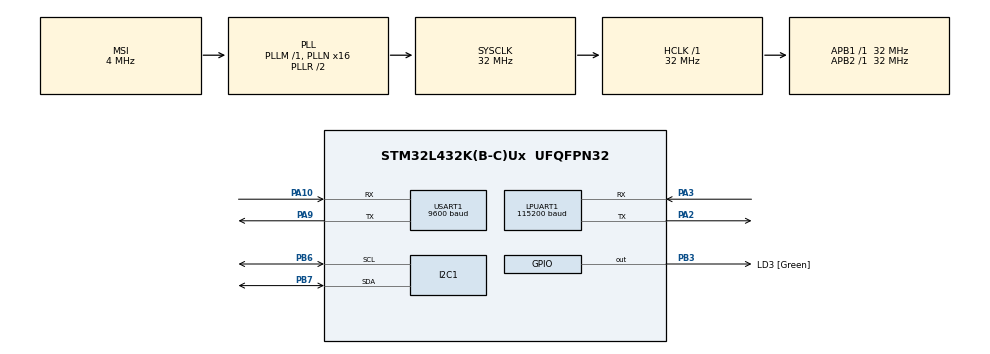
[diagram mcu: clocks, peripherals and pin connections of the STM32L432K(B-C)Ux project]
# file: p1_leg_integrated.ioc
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I2C1.Timing=0x00B07CB4
LPUART1.BaudRate=115200
LPUART1.WordLength=UART_WORDLENGTH_8B
Mcu.Family=STM32L4
Mcu.Name=STM32L432K(B-C)Ux
Mcu.Package=UFQFPN32
NVIC.PriorityGroup=NVIC_PRIORITYGROUP_4
NVIC.TIM6_DAC_IRQn=true\:0\:0\:false\:false\:true\:true\:true\:true
NVIC.USART1_IRQn=true\:0\:0\:false\:false\:true\:true\:true\:true
PA0.GPIO_Label=MCO [High speed clock in]
PA0.Signal=RCC_CK_IN
PA10.Mode=Asynchronous
PA10.Signal=USART1_RX
PA13\ (JTMS-SWDIO).GPIO_Label=SWDIO
PA13\ (JTMS-SWDIO).Signal=SYS_JTMS-SWDIO
PA14\ (JTCK-SWCLK).GPIO_Label=SWCLK
PA14\ (JTCK-SWCLK).Signal=SYS_JTCK-SWCLK
PA15\ (JTDI).GPIO_Label=VCP_RX
PA15\ (JTDI).Signal=USART2_RX
PA2.Mode=Asynchronous
PA2.Signal=LPUART1_TX
PA3.Mode=Asynchronous
PA3.Signal=LPUART1_RX
PA9.Mode=Asynchronous
PA9.Signal=USART1_TX
PB3\ (JTDO-TRACESWO).GPIO_Label=LD3 [Green]
PB3\ (JTDO-TRACESWO).Signal=GPIO_Output
PB6.Mode=I2C
PB6.Signal=I2C1_SCL
PB7.Mode=I2C
PB7.Signal=I2C1_SDA
PC14-OSC32_IN\ (PC14).Signal=RCC_OSC32_IN
PC15-OSC32_OUT\ (PC15).Signal=RCC_OSC32_OUT
ProjectManager.HeapSize=0x200
ProjectManager.StackSize=0x400
ProjectManager.TargetToolchain=STM32CubeIDE
RCC.AHBFreq_Value=32000000
RCC.APB1Freq_Value=32000000
RCC.APB1TimFreq_Value=32000000
RCC.APB2Freq_Value=32000000
RCC.APB2TimFreq_Value=32000000
RCC.CortexFreq_Value=32000000
RCC.HCLKFreq_Value=32000000
RCC.HSE_VALUE=8000000
RCC.HSI16_VALUE=16000000
RCC.HSI48_VALUE=48000000
RCC.HSI_VALUE=16000000
RCC.LSE_VALUE=32768
RCC.MSI_VALUE=4000000
RCC.PLLMUL=RCC_PLLMUL_4
RCC.PLLN=16
RCC.SYSCLKFreq_VALUE=32000000
RCC.SYSCLKSource=RCC_SYSCLKSOURCE_PLLCLK
RCC.VCOOutputFreq_Value=64000000
TIM6.Period=9999
TIM6.Prescaler=31
USART1.BaudRate=9600
USART1.VirtualMode-Asynchronous=VM_ASYNC
VP_TIM6_VS_ClockSourceINT.Mode=Enable_Timer
board=NUCLEO-L432KC

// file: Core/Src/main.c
/* USER CODE BEGIN Header */
/**
  ******************************************************************************
  * @file           : main.c
  * @brief          : Main program body
  ******************************************************************************
  * @attention
  *
  * Copyright (c) 2026 STMicroelectronics.
  * All rights reserved.
  *
  * This software is licensed under terms that can be found in the LICENSE file
  * in the root directory of this software component.
  * If no LICENSE file comes with this software, it is provided AS-IS.
  *
  ******************************************************************************
  */
/* USER CODE END Header */
#include "main.h"

/* USER CODE BEGIN Includes */
#include "jump.h"
#include <string.h>
#include "stdio.h"

/* USER CODE END Includes */

/* USER CODE BEGIN PD */
/* ── LSM303 defines ───────────────────────────────────────────── */
#define SAD_W_M     0x32          // I2C write address
#define SAD_R_M     0x33          // I2C read address
#define OUT_X_L_A   0b10101000    // accel output register, auto-increment

/* ── Globals ─────────────────────────────────────────────────── */
static JumpDetector      jd;
static volatile uint8_t  imu_read_flag = 0;  // set by TIM6 ISR every 10ms

// 0b001 for P1_LEG and 0b011 for P2_LEG
#define DEVICE_ADDR 0b011
#define MAINSTM_ADDR 0b100
#define START_BYTE 0xFF //might need to change this too
/* USER CODE END PD */

I2C_HandleTypeDef hi2c1;

UART_HandleTypeDef hlpuart1;
UART_HandleTypeDef huart1;

TIM_HandleTypeDef htim6;

/* USER CODE BEGIN PV */
uint8_t rx_buf[3] = {};
uint8_t tx_buf[3] = {};
uint8_t jump = 0; // for leg this will be jump
volatile uint8_t packet_received = 0;
volatile uint8_t uart_tx_busy = 0;

/* USER CODE END PV */

void SystemClock_Config(void);
static void MX_GPIO_Init(void);
static void MX_I2C1_Init(void);
static void MX_USART1_UART_Init(void);
static void MX_TIM6_Init(void);
static void MX_LPUART1_UART_Init(void);
/* USER CODE BEGIN PFP */
/* ── LSM303 init ─────────────────────────────────────────────── */
static void lsm303_init(void)
{
    uint8_t buf[2];
    // reg 0x20 = CTRL_REG1_A: ODR=400Hz, all axes enabled (0b10010111)
    buf[0] = 0x20;
    buf[1] = 0b10010111;
    HAL_I2C_Master_Transmit(&hi2c1, SAD_W_M, buf, 2, 1000);
}

/* ── Read all 3 accel axes in one burst ──────────────────────── */
static void lsm303_read_accel(int16_t *ax, int16_t *ay, int16_t *az)
{
    uint8_t reg = OUT_X_L_A;
    uint8_t buf[6];
    HAL_I2C_Master_Transmit(&hi2c1, SAD_W_M, &reg, 1, 1000);
    HAL_I2C_Master_Receive(&hi2c1,  SAD_R_M, buf,  6, 1000);
    *ax = (int16_t)((buf[1] << 8) | buf[0]);
    *ay = (int16_t)((buf[3] << 8) | buf[2]);
    *az = (int16_t)((buf[5] << 8) | buf[4]);
}

/* ── TIM6 ISR: set flag every 10ms for 100Hz sampling ────────── */
void HAL_TIM_PeriodElapsedCallback(TIM_HandleTypeDef *htim)
{
    if (htim->Instance == TIM6) {
        imu_read_flag = 1;
    }
}

/* ── Calibration: average N samples at rest ─────────────────── */
static void calibrate_baseline(float *bx, float *by, float *bz)
{
    #define CAL_SAMPLES 64
    int32_t sx = 0, sy = 0, sz = 0;
    int16_t ax, ay, az;

    //printf("Calibrating... hold still\r\n");
    for (int i = 0; i < CAL_SAMPLES; i++) {
        lsm303_read_accel(&ax, &ay, &az);
        sx += ax; sy += ay; sz += az;
        HAL_Delay(10);
    }
    *bx = ((float)sx / CAL_SAMPLES) / IMU_SCALE;
    *by = ((float)sy / CAL_SAMPLES) / IMU_SCALE;
    *bz = ((float)sz / CAL_SAMPLES) / IMU_SCALE;
    //printf("Baseline: %.3f  %.3f  %.3f g\r\n", *bx, *by, *bz);
}

/* USER CODE END PFP */

int main(void)
{

  /* MCU Configuration--------------------------------------------------------*/

  /* Reset of all peripherals, Initializes the Flash interface and the Systick. */
  HAL_Init();

  /* Configure the system clock */
  SystemClock_Config();

  /* Initialize all configured peripherals */
  MX_GPIO_Init();
  MX_I2C1_Init();
  MX_USART1_UART_Init();
  MX_TIM6_Init();
  MX_LPUART1_UART_Init();
  /* USER CODE BEGIN 2 */
  HAL_UART_Receive_IT(&huart1, rx_buf, 3);  // arm UART before XBee startup bytes arrive

  //printf("\r\n=== Jump Detection Test ===\r\n");
    lsm303_init();
    float bx, by, bz;
    calibrate_baseline(&bx, &by, &bz);
    jump_init(&jd, bx, by, bz);

    HAL_TIM_Base_Start_IT(&htim6);

    //printf("Ready. Jump!\r\n");

  printf("Start\n\r");

  /* USER CODE END 2 */

  /* Infinite loop */
  while (1)
  {

    /* USER CODE BEGIN 3 */

	  if(packet_received){
		  //this is just to be consistent with arm code
		  uint8_t local_copy[3];
		  printf("received\r\n");

		  __disable_irq();
		  memcpy(local_copy, rx_buf, 3);
		  packet_received = 0;
		  __enable_irq();
		  //legs don't need vibration data

		  tx_buf[0] = START_BYTE;
		  //note this code is specialized for arm
		  tx_buf[1] = DEVICE_ADDR | (MAINSTM_ADDR << 3) | (jump << 7);
		  tx_buf[2] = 0;

		  if(!uart_tx_busy){
			  uart_tx_busy = 1;
			  jump = 0;  // clear latch now that it's in tx_buf
			  printf("Try to transmit\n\r");
			  HAL_UART_Transmit_IT(&huart1, tx_buf, 3);
		  	 }
	  }

	  if (imu_read_flag) {
	  		imu_read_flag = 0;

	  		int16_t ax, ay, az;
	  		lsm303_read_accel(&ax, &ay, &az);

	  		uint32_t now = HAL_GetTick();
	  		JumpResult res = jump_update(&jd, ax, ay, az, now);

	  		if (res.valid) jump = 1;  // latch: stay set until polled
	  		//if (res.valid) {
	  			//printf("JUMP! peak=%.2fg\r\n", res.peak_mag);
	  		//}
	  	}

  }
  /* USER CODE END 3 */
}

void SystemClock_Config(void)
{
  RCC_OscInitTypeDef RCC_OscInitStruct = {0};
  RCC_ClkInitTypeDef RCC_ClkInitStruct = {0};

  /** Configure the main internal regulator output voltage
  */
  if (HAL_PWREx_ControlVoltageScaling(PWR_REGULATOR_VOLTAGE_SCALE1) != HAL_OK)
  {
    Error_Handler();
  }

  /** Initializes the RCC Oscillators according to the specified parameters
  * in the RCC_OscInitTypeDef structure.
  */
  RCC_OscInitStruct.OscillatorType = RCC_OSCILLATORTYPE_MSI;
  RCC_OscInitStruct.MSIState = RCC_MSI_ON;
  RCC_OscInitStruct.MSICalibrationValue = 0;
  RCC_OscInitStruct.MSIClockRange = RCC_MSIRANGE_6;
  RCC_OscInitStruct.PLL.PLLState = RCC_PLL_ON;
  RCC_OscInitStruct.PLL.PLLSource = RCC_PLLSOURCE_MSI;
  RCC_OscInitStruct.PLL.PLLM = 1;
  RCC_OscInitStruct.PLL.PLLN = 16;
  RCC_OscInitStruct.PLL.PLLP = RCC_PLLP_DIV7;
  RCC_OscInitStruct.PLL.PLLQ = RCC_PLLQ_DIV2;
  RCC_OscInitStruct.PLL.PLLR = RCC_PLLR_DIV2;
  if (HAL_RCC_OscConfig(&RCC_OscInitStruct) != HAL_OK)
  {
    Error_Handler();
  }

  /** Initializes the CPU, AHB and APB buses clocks
  */
  RCC_ClkInitStruct.ClockType = RCC_CLOCKTYPE_HCLK|RCC_CLOCKTYPE_SYSCLK
                              |RCC_CLOCKTYPE_PCLK1|RCC_CLOCKTYPE_PCLK2;
  RCC_ClkInitStruct.SYSCLKSource = RCC_SYSCLKSOURCE_PLLCLK;
  RCC_ClkInitStruct.AHBCLKDivider = RCC_SYSCLK_DIV1;
  RCC_ClkInitStruct.APB1CLKDivider = RCC_HCLK_DIV1;
  RCC_ClkInitStruct.APB2CLKDivider = RCC_HCLK_DIV1;

  if (HAL_RCC_ClockConfig(&RCC_ClkInitStruct, FLASH_LATENCY_1) != HAL_OK)
  {
    Error_Handler();
  }
}

static void MX_I2C1_Init(void)
{

  hi2c1.Instance = I2C1;
  hi2c1.Init.Timing = 0x00B07CB4;
  hi2c1.Init.OwnAddress1 = 0;
  hi2c1.Init.AddressingMode = I2C_ADDRESSINGMODE_7BIT;
  hi2c1.Init.DualAddressMode = I2C_DUALADDRESS_DISABLE;
  hi2c1.Init.OwnAddress2 = 0;
  hi2c1.Init.OwnAddress2Masks = I2C_OA2_NOMASK;
  hi2c1.Init.GeneralCallMode = I2C_GENERALCALL_DISABLE;
  hi2c1.Init.NoStretchMode = I2C_NOSTRETCH_DISABLE;
  if (HAL_I2C_Init(&hi2c1) != HAL_OK)
  {
    Error_Handler();
  }

  /** Configure Analogue filter
  */
  if (HAL_I2CEx_ConfigAnalogFilter(&hi2c1, I2C_ANALOGFILTER_ENABLE) != HAL_OK)
  {
    Error_Handler();
  }

  /** Configure Digital filter
  */
  if (HAL_I2CEx_ConfigDigitalFilter(&hi2c1, 0) != HAL_OK)
  {
    Error_Handler();
  }

}

static void MX_LPUART1_UART_Init(void)
{

  hlpuart1.Instance = LPUART1;
  hlpuart1.Init.BaudRate = 115200;
  hlpuart1.Init.WordLength = UART_WORDLENGTH_8B;
  hlpuart1.Init.StopBits = UART_STOPBITS_1;
  hlpuart1.Init.Parity = UART_PARITY_NONE;
  hlpuart1.Init.Mode = UART_MODE_TX_RX;
  hlpuart1.Init.HwFlowCtl = UART_HWCONTROL_NONE;
  hlpuart1.Init.OneBitSampling = UART_ONE_BIT_SAMPLE_DISABLE;
  hlpuart1.AdvancedInit.AdvFeatureInit = UART_ADVFEATURE_NO_INIT;
  if (HAL_UART_Init(&hlpuart1) != HAL_OK)
  {
    Error_Handler();
  }

}

static void MX_USART1_UART_Init(void)
{

  huart1.Instance = USART1;
  huart1.Init.BaudRate = 9600;
  huart1.Init.WordLength = UART_WORDLENGTH_8B;
  huart1.Init.StopBits = UART_STOPBITS_1;
  huart1.Init.Parity = UART_PARITY_NONE;
  huart1.Init.Mode = UART_MODE_TX_RX;
  huart1.Init.HwFlowCtl = UART_HWCONTROL_NONE;
  huart1.Init.OverSampling = UART_OVERSAMPLING_16;
  huart1.Init.OneBitSampling = UART_ONE_BIT_SAMPLE_DISABLE;
  huart1.AdvancedInit.AdvFeatureInit = UART_ADVFEATURE_NO_INIT;
  if (HAL_UART_Init(&huart1) != HAL_OK)
  {
    Error_Handler();
  }

}

static void MX_TIM6_Init(void)
{

  TIM_MasterConfigTypeDef sMasterConfig = {0};

  htim6.Instance = TIM6;
  htim6.Init.Prescaler = 31;
  htim6.Init.CounterMode = TIM_COUNTERMODE_UP;
  htim6.Init.Period = 9999;
  htim6.Init.AutoReloadPreload = TIM_AUTORELOAD_PRELOAD_DISABLE;
  if (HAL_TIM_Base_Init(&htim6) != HAL_OK)
  {
    Error_Handler();
  }
  sMasterConfig.MasterOutputTrigger = TIM_TRGO_RESET;
  sMasterConfig.MasterSlaveMode = TIM_MASTERSLAVEMODE_DISABLE;
  if (HAL_TIMEx_MasterConfigSynchronization(&htim6, &sMasterConfig) != HAL_OK)
  {
    Error_Handler();
  }

}

static void MX_GPIO_Init(void)
{
  GPIO_InitTypeDef GPIO_InitStruct = {0};

  /* GPIO Ports Clock Enable */
  __HAL_RCC_GPIOC_CLK_ENABLE();
  __HAL_RCC_GPIOA_CLK_ENABLE();
  __HAL_RCC_GPIOB_CLK_ENABLE();

  /*Configure GPIO pin Output Level */
  HAL_GPIO_WritePin(LD3_GPIO_Port, LD3_Pin, GPIO_PIN_RESET);

  /*Configure GPIO pin : VCP_RX_Pin */
  GPIO_InitStruct.Pin = VCP_RX_Pin;
  GPIO_InitStruct.Mode = GPIO_MODE_AF_PP;
  GPIO_InitStruct.Pull = GPIO_NOPULL;
  GPIO_InitStruct.Speed = GPIO_SPEED_FREQ_VERY_HIGH;
  GPIO_InitStruct.Alternate = GPIO_AF3_USART2;
  HAL_GPIO_Init(VCP_RX_GPIO_Port, &GPIO_InitStruct);

  /*Configure GPIO pin : LD3_Pin */
  GPIO_InitStruct.Pin = LD3_Pin;
  GPIO_InitStruct.Mode = GPIO_MODE_OUTPUT_PP;
  GPIO_InitStruct.Pull = GPIO_NOPULL;
  GPIO_InitStruct.Speed = GPIO_SPEED_FREQ_LOW;
  HAL_GPIO_Init(LD3_GPIO_Port, &GPIO_InitStruct);

}

/* USER CODE BEGIN 4 */
void HAL_UART_RxCpltCallback(UART_HandleTypeDef *huart)
{

	if(huart->Instance == USART1) {
		//printf("received 3 bytes: %X %X %X\r\n", rx_buf[0], rx_buf[1], rx_buf[2]);
		if ((rx_buf[0] == START_BYTE) && (((rx_buf[1] & 0x38) >> 3) == DEVICE_ADDR) && ((rx_buf[1] & 0x07) == MAINSTM_ADDR)) {
			packet_received = 1;
		}

		// Restart interrupt reception
		HAL_UART_Receive_IT(&huart1, rx_buf, 3);
		//printf("rearm\r\n");
	}

}

void HAL_UART_TxCpltCallback(UART_HandleTypeDef *huart)
{
	if (huart->Instance == USART1)
	{
	    uart_tx_busy = 0;
	}
}

void HAL_UART_ErrorCallback(UART_HandleTypeDef *huart)
{
	if (huart->Instance == USART1)
	{
		// Re-arm reception after any UART error (framing, overrun, noise)
		// Without this, HAL stops listening permanently on error
		HAL_UART_Receive_IT(&huart1, rx_buf, 3);
	}
}

#ifdef __GNUC__
#define PUTCHAR_PROTOTYPE int __io_putchar(int ch)
#else
  #define PUTCHAR_PROTOTYPE int fputc(int ch, FILE *f)
#endif /* __GNUC__ */
PUTCHAR_PROTOTYPE
{
  HAL_UART_Transmit(&hlpuart1, (uint8_t *)&ch, 1, 0xFFFF);
  return ch;
}

/* USER CODE END 4 */

void Error_Handler(void)
{
  __disable_irq();
  while (1)
  {
  }
}
